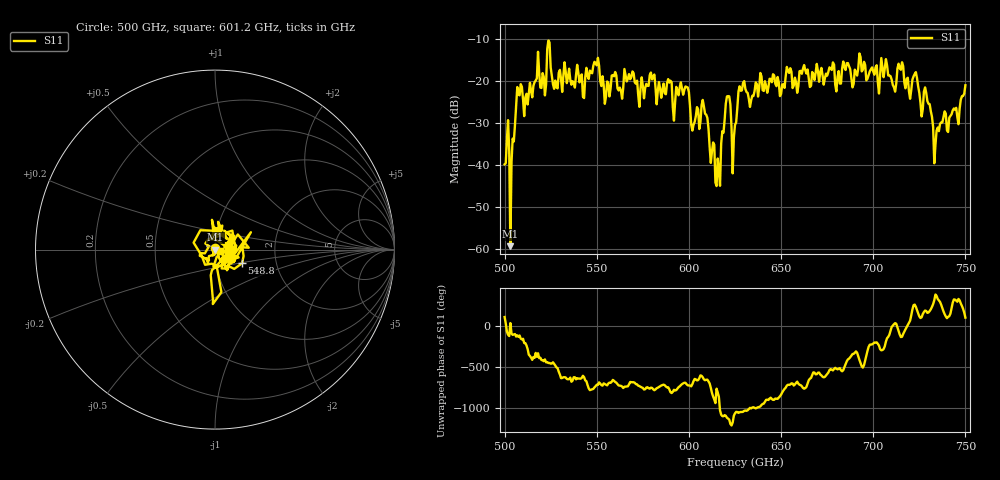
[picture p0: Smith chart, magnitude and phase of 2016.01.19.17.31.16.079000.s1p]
!Created with skrf (http://scikit-rf.org).
# GHz S RI R 50.0
!freq ReS11 ImS11
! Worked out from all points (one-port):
!   401 points, 500 GHz to 750 GHz, reference 50 ohm
!   lowest |S11| = -59.4 dB at 503.1 GHz (marker M1), VSWR 1.00, Z = 50.1 + j0.0546 ohm
!   |S11| at or under -10 dB: start of sweep to end of sweep
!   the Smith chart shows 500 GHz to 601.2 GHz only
!   S11 on the Smith chart (normalised r, x): 500 GHz: 1.00, +0.02; 548.8 GHz: 1.34, -0.21; 601.2 GHz: 1.06, -0.02
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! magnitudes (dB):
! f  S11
! 500 GHz  -39.9
! 503.1 GHz  -59.4
! 504.4 GHz  -33.7
! 505.6 GHz  -30.5
! 508.1 GHz  -23.4
! 521.2 GHz  -19.1
! 524.4 GHz  -10.8
! 527.5 GHz  -19.9
! 531.2 GHz  -22.6
! 548.8 GHz  -15.4
! 562.5 GHz  -21.6
! 568.8 GHz  -19.1
! 593.8 GHz  -22.2
! 598.8 GHz  -21.5
! 601.2 GHz  -30.4
! 608.8 GHz  -27.8
! 615.6 GHz  -38.5
! 621.2 GHz  -23.6
! 625 GHz  -30.5
! 628.8 GHz  -22.2
! 656.2 GHz  -21.7
! 687.5 GHz  -17.2
! 711.2 GHz  -21.5
! 715 GHz  -17.3
! 718.8 GHz  -19.2
! 728.8 GHz  -22.8
! 734.4 GHz  -31.8
! 750 GHz  -21.0
